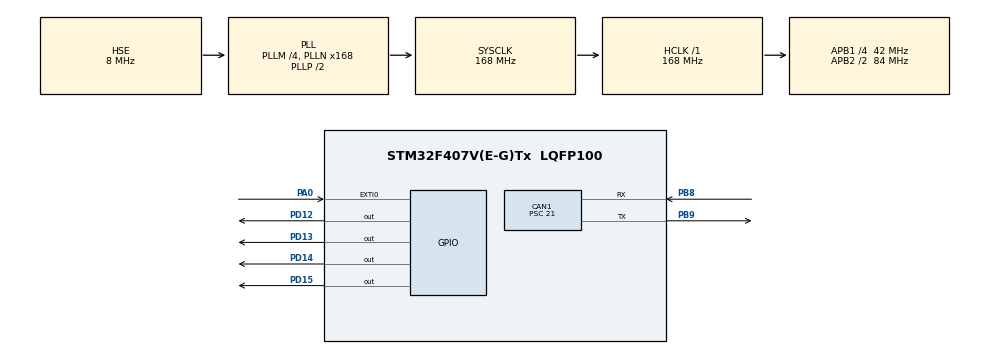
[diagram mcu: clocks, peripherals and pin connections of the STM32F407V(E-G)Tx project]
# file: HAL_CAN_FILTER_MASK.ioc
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CAN1.BS1=CAN_BS1_12TQ
CAN1.BS2=CAN_BS2_4TQ
CAN1.CalculateTimeQuantum=500.0
CAN1.Prescaler=21
Mcu.Family=STM32F4
Mcu.Name=STM32F407V(E-G)Tx
Mcu.Package=LQFP100
NVIC.CAN1_RX0_IRQn=true\:0\:2\:false\:false\:true\:true\:true
NVIC.EXTI0_IRQn=true\:0\:1\:true\:false\:true\:true\:true
NVIC.PriorityGroup=NVIC_PRIORITYGROUP_0
PA0-WKUP.Signal=GPXTI0
PB8.Mode=Master
PB8.Signal=CAN1_RX
PB9.Mode=Master
PB9.Signal=CAN1_TX
PD12.Signal=GPIO_Output
PD13.Signal=GPIO_Output
PD14.Signal=GPIO_Output
PD15.Signal=GPIO_Output
PH0-OSC_IN.Mode=HSE-External-Oscillator
PH0-OSC_IN.Signal=RCC_OSC_IN
PH1-OSC_OUT.Mode=HSE-External-Oscillator
PH1-OSC_OUT.Signal=RCC_OSC_OUT
ProjectManager.HeapSize=0x200
ProjectManager.StackSize=0x400
ProjectManager.TargetToolchain=STM32CubeIDE
RCC.48MHZClocksFreq_Value=84000000
RCC.AHBFreq_Value=168000000
RCC.APB1CLKDivider=RCC_HCLK_DIV4
RCC.APB1Freq_Value=42000000
RCC.APB1TimFreq_Value=84000000
RCC.APB2CLKDivider=RCC_HCLK_DIV2
RCC.APB2Freq_Value=84000000
RCC.APB2TimFreq_Value=168000000
RCC.CortexFreq_Value=168000000
RCC.HCLKFreq_Value=168000000
RCC.HSE_VALUE=8000000
RCC.HSI_VALUE=16000000
RCC.LSE_VALUE=32768
RCC.PLLM=4
RCC.PLLN=168
RCC.PLLSourceVirtual=RCC_PLLSOURCE_HSE
RCC.SYSCLKFreq_VALUE=168000000
RCC.SYSCLKSource=RCC_SYSCLKSOURCE_PLLCLK
RCC.VCOOutputFreq_Value=336000000
board=custom

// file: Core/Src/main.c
/* USER CODE BEGIN Header */
/**
  ******************************************************************************
  * @file           : main.c
  * @brief          : Main program body
  ******************************************************************************
  * @attention
  *
  * <h2><center>&copy; Copyright (c) 2020 STMicroelectronics.
  * All rights reserved.</center></h2>
  *
  * This software component is licensed by ST under BSD 3-Clause license,
  * the "License"; You may not use this file except in compliance with the
  * License. You may obtain a copy of the License at:
  *                        opensource.org/licenses/BSD-3-Clause
  *
  ******************************************************************************
  */
/* USER CODE END Header */

#include "main.h"

CAN_HandleTypeDef hcan1;

/* USER CODE BEGIN PV */

CAN_TxHeaderTypeDef pTxHeader;
CAN_RxHeaderTypeDef pRxHeader;
CAN_FilterTypeDef sFilterConfig;

uint32_t pTxMailbox;
uint8_t count=0;
uint8_t rCount;

/* USER CODE END PV */

void SystemClock_Config(void);
static void MX_GPIO_Init(void);
static void MX_CAN1_Init(void);

/* USER CODE BEGIN 0 */

void Init_Tx_Can_Config()
{   // Set Transmit parameters
	  pTxHeader.DLC = 1;
	  pTxHeader.IDE = CAN_ID_STD;
	  pTxHeader.RTR = CAN_RTR_DATA;
	  pTxHeader.StdId = 0x0155;

}

void Init_Filter_Can_Config()
{   // Set Filter Parameters
	sFilterConfig.FilterActivation =ENABLE;
	sFilterConfig.FilterBank = 0;
	sFilterConfig.FilterFIFOAssignment =CAN_FILTER_FIFO0;
	sFilterConfig.FilterIdHigh = 0x0000<<5;
	sFilterConfig.FilterIdLow = 0x0000;
	sFilterConfig.FilterMaskIdHigh = 0x0000;
	sFilterConfig.FilterMaskIdLow = 0x0000;
	sFilterConfig.FilterMode = CAN_FILTERMODE_IDMASK;
	sFilterConfig.FilterScale = CAN_FILTERSCALE_32BIT;
	HAL_CAN_ConfigFilter(&hcan1, &sFilterConfig);

}
/* USER CODE END 0 */

int main(void)
{

  /* MCU Configuration--------------------------------------------------------*/

  /* Reset of all peripherals, Initializes the Flash interface and the Systick. */
  HAL_Init();

  /* Configure the system clock */
  SystemClock_Config();

  /* Initialize all configured peripherals */
  MX_GPIO_Init();
  MX_CAN1_Init();
  /* USER CODE BEGIN 2 */
  //Init_Tx_Can_Config(); // Set Transmit Configuration

  // Start CAN Communication
  HAL_CAN_Start(&hcan1);

  // Enable Interrupt

  HAL_CAN_ActivateNotification(&hcan1, CAN_IT_RX_FIFO0_MSG_PENDING);
  //Set Transmit Configuration
  Init_Tx_Can_Config();
  Init_Filter_Can_Config(); // Set Filter Parameters
  /* USER CODE END 2 */

  /* Infinite loop */
  while (1)
  {

  }
}

void SystemClock_Config(void)
{
  RCC_OscInitTypeDef RCC_OscInitStruct = {0};
  RCC_ClkInitTypeDef RCC_ClkInitStruct = {0};

  /** Configure the main internal regulator output voltage
  */
  __HAL_RCC_PWR_CLK_ENABLE();
  __HAL_PWR_VOLTAGESCALING_CONFIG(PWR_REGULATOR_VOLTAGE_SCALE1);
  /** Initializes the CPU, AHB and APB busses clocks
  */
  RCC_OscInitStruct.OscillatorType = RCC_OSCILLATORTYPE_HSE;
  RCC_OscInitStruct.HSEState = RCC_HSE_ON;
  RCC_OscInitStruct.PLL.PLLState = RCC_PLL_ON;
  RCC_OscInitStruct.PLL.PLLSource = RCC_PLLSOURCE_HSE;
  RCC_OscInitStruct.PLL.PLLM = 4;
  RCC_OscInitStruct.PLL.PLLN = 168;
  RCC_OscInitStruct.PLL.PLLP = RCC_PLLP_DIV2;
  RCC_OscInitStruct.PLL.PLLQ = 4;
  if (HAL_RCC_OscConfig(&RCC_OscInitStruct) != HAL_OK)
  {
    Error_Handler();
  }
  /** Initializes the CPU, AHB and APB busses clocks
  */
  RCC_ClkInitStruct.ClockType = RCC_CLOCKTYPE_HCLK|RCC_CLOCKTYPE_SYSCLK
                              |RCC_CLOCKTYPE_PCLK1|RCC_CLOCKTYPE_PCLK2;
  RCC_ClkInitStruct.SYSCLKSource = RCC_SYSCLKSOURCE_PLLCLK;
  RCC_ClkInitStruct.AHBCLKDivider = RCC_SYSCLK_DIV1;
  RCC_ClkInitStruct.APB1CLKDivider = RCC_HCLK_DIV4;
  RCC_ClkInitStruct.APB2CLKDivider = RCC_HCLK_DIV2;

  if (HAL_RCC_ClockConfig(&RCC_ClkInitStruct, FLASH_LATENCY_5) != HAL_OK)
  {
    Error_Handler();
  }
}

static void MX_CAN1_Init(void)
{

  hcan1.Instance = CAN1;
  hcan1.Init.Prescaler = 21;
  hcan1.Init.Mode = CAN_MODE_NORMAL;
  hcan1.Init.SyncJumpWidth = CAN_SJW_1TQ;
  hcan1.Init.TimeSeg1 = CAN_BS1_10TQ;
  hcan1.Init.TimeSeg2 = CAN_BS2_5TQ;
  hcan1.Init.TimeTriggeredMode = DISABLE;
  hcan1.Init.AutoBusOff = DISABLE;
  hcan1.Init.AutoWakeUp = DISABLE;
  hcan1.Init.AutoRetransmission = DISABLE;
  hcan1.Init.ReceiveFifoLocked = DISABLE;
  hcan1.Init.TransmitFifoPriority = DISABLE;
  if (HAL_CAN_Init(&hcan1) != HAL_OK)
  {
    Error_Handler();
  }

}

static void MX_GPIO_Init(void)
{
  GPIO_InitTypeDef GPIO_InitStruct = {0};

  /* GPIO Ports Clock Enable */
  __HAL_RCC_GPIOH_CLK_ENABLE();
  __HAL_RCC_GPIOA_CLK_ENABLE();
  __HAL_RCC_GPIOD_CLK_ENABLE();
  __HAL_RCC_GPIOB_CLK_ENABLE();

  /*Configure GPIO pin Output Level */
  HAL_GPIO_WritePin(GPIOD, GPIO_PIN_12|GPIO_PIN_13|GPIO_PIN_14|GPIO_PIN_15, GPIO_PIN_RESET);

  /*Configure GPIO pin : PA0 */
  GPIO_InitStruct.Pin = GPIO_PIN_0;
  GPIO_InitStruct.Mode = GPIO_MODE_IT_RISING;
  GPIO_InitStruct.Pull = GPIO_NOPULL;
  HAL_GPIO_Init(GPIOA, &GPIO_InitStruct);

  /*Configure GPIO pins : PD12 PD13 PD14 PD15 */
  GPIO_InitStruct.Pin = GPIO_PIN_12|GPIO_PIN_13|GPIO_PIN_14|GPIO_PIN_15;
  GPIO_InitStruct.Mode = GPIO_MODE_OUTPUT_PP;
  GPIO_InitStruct.Pull = GPIO_NOPULL;
  GPIO_InitStruct.Speed = GPIO_SPEED_FREQ_LOW;
  HAL_GPIO_Init(GPIOD, &GPIO_InitStruct);

  /* EXTI interrupt init*/
  HAL_NVIC_SetPriority(EXTI0_IRQn, 0, 1);
  HAL_NVIC_EnableIRQ(EXTI0_IRQn);

}

void Error_Handler(void)
{
}

/************************ (C) COPYRIGHT STMicroelectronics *****END OF FILE****/
